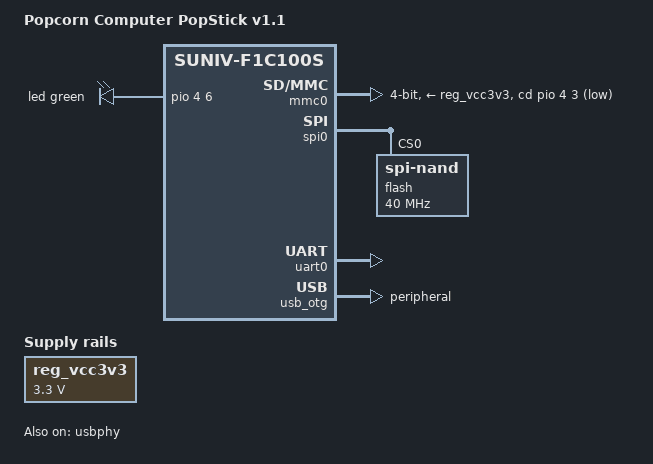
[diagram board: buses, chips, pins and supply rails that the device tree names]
// SPDX-License-Identifier: (GPL-2.0+ OR MIT)
/*
 * Copyright 2022 Icenowy Zheng <uwu@icenowy.me>
 */

/dts-v1/;
#include "suniv-f1c100s.dtsi"

#include <dt-bindings/gpio/gpio.h>
#include <dt-bindings/leds/common.h>

/ {
	model = "Popcorn Computer PopStick v1.1";
	compatible = "sourceparts,popstick-v1.1", "sourceparts,popstick",
		     "allwinner,suniv-f1c200s", "allwinner,suniv-f1c100s";

	aliases {
		serial0 = &uart0;
	};

	chosen {
		stdout-path = "serial0:115200n8";
	};

	leds {
		compatible = "gpio-leds";

		led {
			function = LED_FUNCTION_STATUS;
			color = <LED_COLOR_ID_GREEN>;
			gpios = <&pio 4 6 GPIO_ACTIVE_HIGH>; /* PE6 */
			linux,default-trigger = "heartbeat";
		};
	};

	reg_vcc3v3: regulator-3v3 {
		compatible = "regulator-fixed";
		regulator-name = "vcc3v3";
		regulator-min-microvolt = <3300000>;
		regulator-max-microvolt = <3300000>;
	};
};

&mmc0 {
	cd-gpios = <&pio 4 3 GPIO_ACTIVE_LOW>; /* PE3 */
	bus-width = <4>;
	disable-wp;
	vmmc-supply = <&reg_vcc3v3>;
	status = "okay";
};

&otg_sram {
	status = "okay";
};

&spi0 {
	pinctrl-names = "default";
	pinctrl-0 = <&spi0_pc_pins>;
	status = "okay";

	flash@0 {
		compatible = "spi-nand";
		reg = <0>;
		spi-max-frequency = <40000000>;
	};
};

&uart0 {
	pinctrl-names = "default";
	pinctrl-0 = <&uart0_pe_pins>;
	status = "okay";
};

&usb_otg {
	dr_mode = "peripheral";
	status = "okay";
};

&usbphy {
	status = "okay";
};
